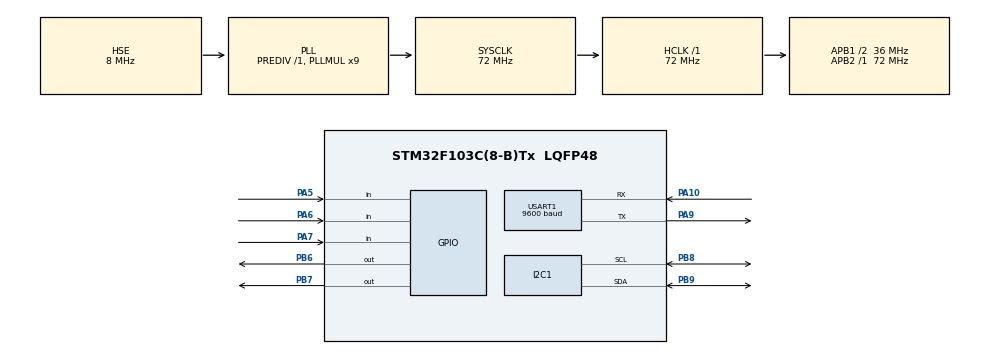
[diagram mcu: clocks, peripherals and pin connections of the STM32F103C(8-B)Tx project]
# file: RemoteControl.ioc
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I2C1.I2C_Mode=I2C_Fast
Mcu.Family=STM32F1
Mcu.Name=STM32F103C(8-B)Tx
Mcu.Package=LQFP48
NVIC.PriorityGroup=NVIC_PRIORITYGROUP_4
NVIC.USART1_IRQn=true\:0\:0\:false\:false\:true\:true\:true\:true
PA10.Mode=Asynchronous
PA10.Signal=USART1_RX
PA13.Mode=Serial_Wire
PA13.Signal=SYS_JTMS-SWDIO
PA14.Mode=Serial_Wire
PA14.Signal=SYS_JTCK-SWCLK
PA5.GPIO_PuPd=GPIO_PULLUP
PA5.Signal=GPIO_Input
PA6.GPIO_PuPd=GPIO_PULLUP
PA6.Signal=GPIO_Input
PA7.GPIO_PuPd=GPIO_PULLUP
PA7.Signal=GPIO_Input
PA9.Mode=Asynchronous
PA9.Signal=USART1_TX
PB6.Signal=GPIO_Output
PB7.Signal=GPIO_Output
PB8.Mode=I2C
PB8.Signal=I2C1_SCL
PB9.Mode=I2C
PB9.Signal=I2C1_SDA
PD0-OSC_IN.Mode=HSE-External-Oscillator
PD0-OSC_IN.Signal=RCC_OSC_IN
PD1-OSC_OUT.Mode=HSE-External-Oscillator
PD1-OSC_OUT.Signal=RCC_OSC_OUT
ProjectManager.HeapSize=0x200
ProjectManager.StackSize=0x400
ProjectManager.TargetToolchain=CMake
RCC.AHBFreq_Value=72000000
RCC.APB1CLKDivider=RCC_HCLK_DIV2
RCC.APB1Freq_Value=36000000
RCC.APB1TimFreq_Value=72000000
RCC.APB2Freq_Value=72000000
RCC.APB2TimFreq_Value=72000000
RCC.HCLKFreq_Value=72000000
RCC.PLLMUL=RCC_PLL_MUL9
RCC.PLLSourceVirtual=RCC_PLLSOURCE_HSE
RCC.SYSCLKFreq_VALUE=72000000
RCC.SYSCLKSource=RCC_SYSCLKSOURCE_PLLCLK
RCC.USBFreq_Value=72000000
USART1.BaudRate=9600
USART1.VirtualMode=VM_ASYNC
board=custom

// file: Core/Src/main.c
/* USER CODE BEGIN Header */
/**
  ******************************************************************************
  * @file           : main.c
  * @brief          : Main program body
  ******************************************************************************
  * @attention
  *
  * Copyright (c) 2025 STMicroelectronics.
  * All rights reserved.
  *
  * This software is licensed under terms that can be found in the LICENSE file
  * in the root directory of this software component.
  * If no LICENSE file comes with this software, it is provided AS-IS.
  *
  ******************************************************************************
  */
/* USER CODE END Header */
#include "main.h"
#include "i2c.h"
#include "usart.h"
#include "gpio.h"

/* USER CODE BEGIN Includes */
#include <string.h>

#include "OLED.h"
#include "MPU6050.h"
/* USER CODE END Includes */

/* USER CODE BEGIN PV */
uint8_t wakeup_flag = 0;
uint8_t wakeup_bag[4] = {0x20,0x02,0x01,0x61};//0x20：包头，0x02：二号遥控器：0x01：一号功能表示唤醒，0x61：包尾
uint8_t ChosePlayer1[4] = {0x20,0x02,0x02,0x61};//0x20：包头，0x02：二号遥控器：0x02：二号功能表示选择角色1，0x61：包尾
uint8_t ChosePlayer2[4] = {0x20,0x02,0x03,0x61};//0x20：包头，0x02：二号遥控器， 0x03：三号功能表示选择角色2， 0x61：包尾
uint8_t ChosePlayer1Flag = 0;
uint8_t ChosePlayer2Flag = 0;
uint8_t AnswerBuffer[4] = {0};
/* USER CODE END PV */

void SystemClock_Config(void);

int main(void)
{

  /* MCU Configuration--------------------------------------------------------*/

  /* Reset of all peripherals, Initializes the Flash interface and the Systick. */
  HAL_Init();

  /* Configure the system clock */
  SystemClock_Config();

  /* Initialize all configured peripherals */
  MX_GPIO_Init();
  MX_I2C1_Init();
  MX_USART1_UART_Init();
  /* USER CODE BEGIN 2 */
  OLED_Init();
  MPU6050_Init();
  MPU6050_t MPU6050Data;
  CalculateBias(&MPU6050Data);
  while (!(ChosePlayer1Flag || ChosePlayer2Flag)) {
    if (HAL_GPIO_ReadPin(GPIOA,GPIO_PIN_6) == GPIO_PIN_RESET) {
      HAL_Delay(50);
      if (HAL_GPIO_ReadPin(GPIOA,GPIO_PIN_6) == GPIO_PIN_RESET) {
        ChosePlayer1Flag = 1;
      }
    }
    if (HAL_GPIO_ReadPin(GPIOA,GPIO_PIN_7) == GPIO_PIN_RESET) {
      HAL_Delay(50);
      if (HAL_GPIO_ReadPin(GPIOA,GPIO_PIN_7) == GPIO_PIN_RESET) {
        ChosePlayer2Flag = 1;
      }
    }
  }

  /* USER CODE END 2 */

  /* Infinite loop */
  /* USER CODE BEGIN WHILE */
  while (1)
  {
    if (ChosePlayer1Flag ) {
      while ( AnswerBuffer[0] != 0x20 && AnswerBuffer[1] != 0x02 && AnswerBuffer[2] != 0x02 && AnswerBuffer[3] != 0x61) {
        HAL_UART_Transmit(&huart1, ChosePlayer1, sizeof(ChosePlayer1), 100);
        HAL_UART_Receive(&huart1, AnswerBuffer, sizeof(AnswerBuffer), HAL_MAX_DELAY);
      }
      memset(AnswerBuffer, 0, sizeof(AnswerBuffer));
      ChosePlayer1Flag = 0;
    }
    if (ChosePlayer2Flag) {
      while ( AnswerBuffer[0] != 0x20 && AnswerBuffer[1] != 0x02 && AnswerBuffer[2] != 0x03 && AnswerBuffer[3] != 0x61) {
        HAL_UART_Transmit(&huart1, ChosePlayer2, sizeof(ChosePlayer2), 100);
        HAL_UART_Receive(&huart1, AnswerBuffer, sizeof(AnswerBuffer), HAL_MAX_DELAY);
      }
      memset(AnswerBuffer, 0, sizeof(AnswerBuffer));
      ChosePlayer2Flag = 0;
    }
    MPU6050_ReadRaw(&MPU6050Data);
    ComputeEulerAngles(&MPU6050Data);
    OLED_ShowFloatNum(0,0,MPU6050Data.pitch,3,3,OLED_6X8);
    OLED_ShowFloatNum(0,16,MPU6050Data.roll,3,3,OLED_6X8);
    OLED_ShowNum(0,32,wakeup_flag,1,OLED_6X8);
    if (MPU6050Data.pitch > 45) {
      wakeup_flag = 1;
      HAL_UART_Transmit(&huart1, wakeup_bag, sizeof(wakeup_bag), 100);
    }

    OLED_Update();
    /* USER CODE END WHILE */

  }
}

void SystemClock_Config(void)
{
  RCC_OscInitTypeDef RCC_OscInitStruct = {0};
  RCC_ClkInitTypeDef RCC_ClkInitStruct = {0};

  /** Initializes the RCC Oscillators according to the specified parameters
  * in the RCC_OscInitTypeDef structure.
  */
  RCC_OscInitStruct.OscillatorType = RCC_OSCILLATORTYPE_HSE;
  RCC_OscInitStruct.HSEState = RCC_HSE_ON;
  RCC_OscInitStruct.HSEPredivValue = RCC_HSE_PREDIV_DIV1;
  RCC_OscInitStruct.HSIState = RCC_HSI_ON;
  RCC_OscInitStruct.PLL.PLLState = RCC_PLL_ON;
  RCC_OscInitStruct.PLL.PLLSource = RCC_PLLSOURCE_HSE;
  RCC_OscInitStruct.PLL.PLLMUL = RCC_PLL_MUL9;
  if (HAL_RCC_OscConfig(&RCC_OscInitStruct) != HAL_OK)
  {
    Error_Handler();
  }

  /** Initializes the CPU, AHB and APB buses clocks
  */
  RCC_ClkInitStruct.ClockType = RCC_CLOCKTYPE_HCLK|RCC_CLOCKTYPE_SYSCLK
                              |RCC_CLOCKTYPE_PCLK1|RCC_CLOCKTYPE_PCLK2;
  RCC_ClkInitStruct.SYSCLKSource = RCC_SYSCLKSOURCE_PLLCLK;
  RCC_ClkInitStruct.AHBCLKDivider = RCC_SYSCLK_DIV1;
  RCC_ClkInitStruct.APB1CLKDivider = RCC_HCLK_DIV2;
  RCC_ClkInitStruct.APB2CLKDivider = RCC_HCLK_DIV1;

  if (HAL_RCC_ClockConfig(&RCC_ClkInitStruct, FLASH_LATENCY_2) != HAL_OK)
  {
    Error_Handler();
  }
}

void Error_Handler(void)
{
  __disable_irq();
  while (1)
  {
  }
}
